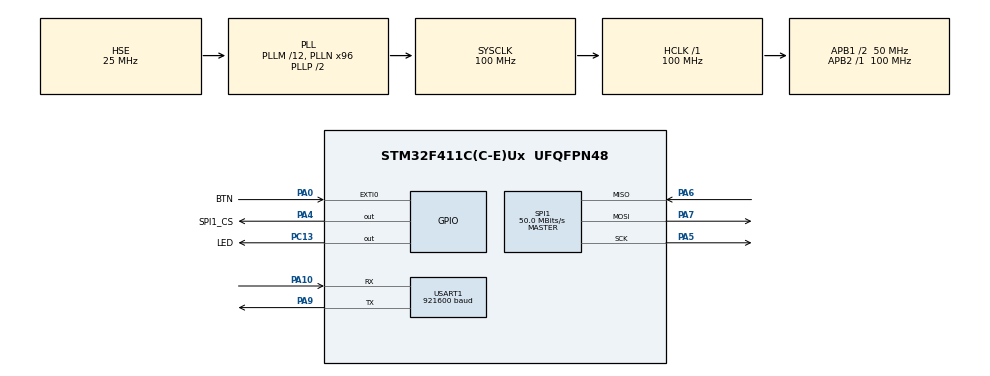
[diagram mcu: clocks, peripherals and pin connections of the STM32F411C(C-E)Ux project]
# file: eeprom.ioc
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Mcu.Family=STM32F4
Mcu.Name=STM32F411C(C-E)Ux
Mcu.Package=UFQFPN48
NVIC.PriorityGroup=NVIC_PRIORITYGROUP_4
NVIC.SPI1_IRQn=true\:0\:0\:false\:false\:true\:true\:true\:true
PA0-WKUP.GPIO_Label=BTN
PA0-WKUP.GPIO_ModeDefaultEXTI=GPIO_MODE_IT_FALLING
PA0-WKUP.Signal=GPXTI0
PA10.Mode=Asynchronous
PA10.Signal=USART1_RX
PA13.Mode=Serial_Wire
PA13.Signal=SYS_JTMS-SWDIO
PA14.Mode=Serial_Wire
PA14.Signal=SYS_JTCK-SWCLK
PA4.GPIO_Label=SPI1_CS
PA4.GPIO_PuPd=GPIO_NOPULL
PA4.GPIO_Speed=GPIO_SPEED_FREQ_MEDIUM
PA4.PinState=GPIO_PIN_SET
PA4.Signal=GPIO_Output
PA5.Mode=Full_Duplex_Master
PA5.Signal=SPI1_SCK
PA6.Mode=Full_Duplex_Master
PA6.Signal=SPI1_MISO
PA7.Mode=Full_Duplex_Master
PA7.Signal=SPI1_MOSI
PA9.Mode=Asynchronous
PA9.Signal=USART1_TX
PC13-ANTI_TAMP.GPIO_Label=LED
PC13-ANTI_TAMP.Signal=GPIO_Output
PH0\ -\ OSC_IN.Mode=HSE-External-Oscillator
PH0\ -\ OSC_IN.Signal=RCC_OSC_IN
PH1\ -\ OSC_OUT.Mode=HSE-External-Oscillator
PH1\ -\ OSC_OUT.Signal=RCC_OSC_OUT
ProjectManager.HeapSize=0x200
ProjectManager.StackSize=0x400
ProjectManager.TargetToolchain=STM32CubeIDE
RCC.48MHZClocksFreq_Value=50000000
RCC.AHBFreq_Value=100000000
RCC.APB1CLKDivider=RCC_HCLK_DIV2
RCC.APB1Freq_Value=50000000
RCC.APB1TimFreq_Value=100000000
RCC.APB2Freq_Value=100000000
RCC.APB2TimFreq_Value=100000000
RCC.CortexFreq_Value=100000000
RCC.HCLKFreq_Value=100000000
RCC.HSE_VALUE=25000000
RCC.HSI_VALUE=16000000
RCC.LSE_VALUE=32768
RCC.PLLM=12
RCC.PLLN=96
RCC.PLLSourceVirtual=RCC_PLLSOURCE_HSE
RCC.SYSCLKFreq_VALUE=100000000
RCC.SYSCLKSource=RCC_SYSCLKSOURCE_PLLCLK
RCC.VCOOutputFreq_Value=200000000
SPI1.CalculateBaudRate=50.0 MBits/s
SPI1.Direction=SPI_DIRECTION_2LINES
SPI1.Mode=SPI_MODE_MASTER
SPI1.VirtualType=VM_MASTER
USART1.BaudRate=921600
USART1.VirtualMode=VM_ASYNC
board=custom

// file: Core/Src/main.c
/* USER CODE BEGIN Header */
/**
  ******************************************************************************
  * @file           : main.c
  * @brief          : Main program body
  ******************************************************************************
  * @attention
  *
  * <h2><center>&copy; Copyright (c) 2022 Lars Boegild Thomsen <lbthomsen@gmail.com>
  * All rights reserved.</center></h2>
  *
  * This software component is licensed under MIT license,
  * the "License"; You may not use this file except in compliance with the
  * License. You may obtain a copy of the License at:
  *                        opensource.org/licenses/MIT
  *
  ******************************************************************************
  */
/* USER CODE END Header */
#include "main.h"

/* USER CODE BEGIN Includes */
#include "stdio.h"
#include "stdbool.h"
#include "string.h"
#include "w25qxx.h"
/* USER CODE END Includes */

/* USER CODE BEGIN PD */
#ifdef DEBUG
#define DBG_STATE "enabled"
#else
#define DBG_STATE "disabled"
#endif // DEBUG
/* USER CODE END PD */

 SPI_HandleTypeDef hspi1;

UART_HandleTypeDef huart1;

/* USER CODE BEGIN PV */

W25QXX_HandleTypeDef w25qxx = {0};

/* USER CODE END PV */

void SystemClock_Config(void);
static void MX_GPIO_Init(void);
static void MX_SPI1_Init(void);
static void MX_USART1_UART_Init(void);

/* USER CODE BEGIN 0 */

// Send printf to uart1
int _write(int fd, char* ptr, int len) {
  HAL_StatusTypeDef hstatus;

  if (fd == 1 || fd == 2) {
    hstatus = HAL_UART_Transmit(&huart1, (uint8_t *) ptr, len, HAL_MAX_DELAY);
    if (hstatus == HAL_OK)
      return len;
    else
      return -1;
  }
  return -1;
}

// Dump hex to serial console
void dump_hex(char *header, uint32_t start, uint8_t *buf, uint32_t len) {
	uint32_t i = 0;

	printf("%s\n", header);

	for (i = 0; i < len; ++i) {

		if (i % 16 == 0) {
			printf("0x%08lx: ", start);
		}

		printf("%02x ", buf[i]);

		if ((i + 1) % 16 == 0) {
			printf("\n");
		}

		++start;
	}
}

void fill_buffer(uint8_t pattern, uint8_t *buf, uint32_t len) {
	switch (pattern) {
	case 0:
		memset(buf, 0, len);
		break;
	case 1:
		memset(buf, 0xaa, len); // 10101010
		break;
	case 2:
		for (uint32_t i = 0; i < len; ++i) buf[i] = i % 256;
		break;
	default:
		DBG("Programmer is a moron");
	}
}

bool check_buffer(uint8_t pattern, uint8_t *buf, uint32_t len) {

	bool ret = true;

	switch (pattern) {
	case 0:
		for (uint32_t i = 0; i < len; ++i) {
			if (buf[i] != 0) ret = false;
		}
		break;
	case 1:
		for (uint32_t i = 0; i < len; ++i) {
			if (buf[i] != 0xaa) ret = false;
		}
		break;
	case 2:
		for (uint32_t i = 0; i < len; ++i) {
			if (buf[i] != i % 256) ret = false;
		}
		break;
	default:
		DBG("Programmer is a moron");
	}

	return ret;
}

uint32_t get_sum(uint8_t *buf, uint32_t len) {
	uint32_t sum = 0;
	for (uint32_t i = 0; i < len; ++i) {
		sum += buf[i];
	}
	return sum;
}

/* USER CODE END 0 */

int main(void)
{

  /* MCU Configuration--------------------------------------------------------*/

  /* Reset of all peripherals, Initializes the Flash interface and the Systick. */
  HAL_Init();

  /* Configure the system clock */
  SystemClock_Config();

  /* Initialize all configured peripherals */
  MX_GPIO_Init();
  MX_SPI1_Init();
  MX_USART1_UART_Init();
  /* USER CODE BEGIN 2 */

  W25QXX_result_t res;

  DBG("\n-----------------\nStarting (debug is %s)...", DBG_STATE);

  res = w25qxx_init(&w25qxx, &hspi1, SPI1_CS_GPIO_Port, SPI1_CS_Pin);
  if (res == W25QXX_Ok) {
	  DBG("W25QXX successfully initialized");
	  DBG("Manufacturer       = 0x%2x", w25qxx.manufacturer_id);
	  DBG("Device             = 0x%4x", w25qxx.device_id);
	  DBG("Block size         = 0x%04lx (%lu)", w25qxx.block_size, w25qxx.block_size);
	  DBG("Block count        = 0x%04lx (%lu)", w25qxx.block_count, w25qxx.block_count);
	  DBG("Sector size        = 0x%04lx (%lu)", w25qxx.sector_size, w25qxx.sector_size);
	  DBG("Sectors per block  = 0x%04lx (%lu)", w25qxx.sectors_in_block, w25qxx.sectors_in_block);
	  DBG("Page size          = 0x%04lx (%lu)", w25qxx.page_size, w25qxx.page_size);
	  DBG("Pages per sector   = 0x%04lx (%lu)", w25qxx.pages_in_sector, w25qxx.pages_in_sector);
	  DBG("Total size (in kB) = 0x%04lx (%lu)", (w25qxx.block_count * w25qxx.block_size) / 1024, (w25qxx.block_count * w25qxx.block_size) / 1024);
  } else {
	  DBG("Unable to initialize w25qxx");
  }

  HAL_Delay(10);

  uint8_t buf[w25qxx.page_size]; // Buffer the size of a page

  for (uint8_t run = 0; run <= 2; ++run) {

	  DBG("\n-------------\nRun %d", run);

	  DBG("Reading first page");

	  res = w25qxx_read(&w25qxx, 0, (uint8_t *)&buf, sizeof(buf));
	  if (res == W25QXX_Ok) {
		  dump_hex("First page at start", 0, (uint8_t *)&buf, sizeof(buf));
	  } else {
		  DBG("Unable to read w25qxx");
	  }

	  DBG("Erasing first page");
	  if (w25qxx_erase(&w25qxx, 0, sizeof(buf)) == W25QXX_Ok) {
		  DBG("Reading first page");
		  if (w25qxx_read(&w25qxx, 0, (uint8_t *)&buf, sizeof(buf)) == W25QXX_Ok) {
			dump_hex("After erase", 0, (uint8_t *)&buf, sizeof(buf));
		  }
	  }

	  // Create a well known pattern
	  fill_buffer(run, buf, sizeof(buf));

	  // Write it to device
	  DBG("Writing first page");
	  if (w25qxx_write(&w25qxx, 0, (uint8_t *)&buf, sizeof(buf)) == W25QXX_Ok) {
		  // now read it back
		  DBG("Reading first page");
		  if (w25qxx_read(&w25qxx, 0, (uint8_t *)&buf, sizeof(buf)) == W25QXX_Ok) {
			  //DBG("  - sum = %lu", get_sum(buf, 256));
			  dump_hex("After write", 0, (uint8_t *)&buf, sizeof(buf));
		  }
	  }
  }

  // Let's do a stress test
  uint32_t start;
  uint32_t sectors = w25qxx.block_count * w25qxx.sectors_in_block; // Entire chip

  DBG("Stress testing w25qxx device: sectors = %lu", sectors);

  DBG("Doing chip erase");
  start = HAL_GetTick();
  w25qxx_chip_erase(&w25qxx);
  DBG("Done erasing - took %lu ms", HAL_GetTick() - start);

  fill_buffer(0, buf, sizeof(buf));

  DBG("Writing all zeroes %lu sectors", sectors);
  start = HAL_GetTick();
  for (uint32_t i = 0; i < sectors; ++i) {
	  w25qxx_write(&w25qxx, i * w25qxx.sector_size, buf, sizeof(buf));
  }
  DBG("Done writing - took %lu ms", HAL_GetTick() - start);

  DBG("Reading %lu sectors", sectors);
  start = HAL_GetTick();
  for (uint32_t i = 0; i < sectors; ++i) {
	  w25qxx_read(&w25qxx, i * w25qxx.sector_size, buf, sizeof(buf));
  }
  DBG("Done reading - took %lu ms", HAL_GetTick() - start);

  DBG("Validating buffer");
  if (check_buffer(0, buf, sizeof(buf))) {
	  DBG("OK");
  } else {
	  DBG("Not OK");
  }

  DBG("Doing chip erase");
  start = HAL_GetTick();
  w25qxx_chip_erase(&w25qxx);
  DBG("Done erasing - took %lu ms", HAL_GetTick() - start);

  fill_buffer(1, buf, sizeof(buf));

  DBG("Writing 10101010 %lu sectors", sectors);
  start = HAL_GetTick();
  for (uint32_t i = 0; i < sectors; ++i) {
	  w25qxx_write(&w25qxx, i * w25qxx.sector_size, buf, sizeof(buf));
  }
  DBG("Done writing - took %lu ms", HAL_GetTick() - start);

  DBG("Reading %lu sectors", sectors);
  start = HAL_GetTick();
  for (uint32_t i = 0; i < sectors; ++i) {
	  w25qxx_read(&w25qxx, i * w25qxx.sector_size, buf, sizeof(buf));
  }
  DBG("Done reading - took %lu ms", HAL_GetTick() - start);

  DBG("Validating buffer");
  if (check_buffer(1, buf, sizeof(buf))) {
	  DBG("OK");
  } else {
	  DBG("Not OK");
  }

  DBG("Erasing %lu sectors sequentially", sectors);
  start = HAL_GetTick();
  for (uint32_t i = 0; i < sectors; ++i) {
	  w25qxx_erase(&w25qxx, i * w25qxx.sector_size, sizeof(buf));
  }
  DBG("Done erasing - took %lu ms", HAL_GetTick() - start);

  /* USER CODE END 2 */

  /* Infinite loop */
  /* USER CODE BEGIN WHILE */

  uint32_t now = 0, last_blink = 0;

  while (1)
  {

	  now = HAL_GetTick();

	  if (now - last_blink >= 500) {
		  HAL_GPIO_TogglePin(LED_GPIO_Port, LED_Pin);
		  last_blink = now;
	  }

    /* USER CODE END WHILE */

  }
}

void SystemClock_Config(void)
{
  RCC_OscInitTypeDef RCC_OscInitStruct = {0};
  RCC_ClkInitTypeDef RCC_ClkInitStruct = {0};

  /** Configure the main internal regulator output voltage
  */
  __HAL_RCC_PWR_CLK_ENABLE();
  __HAL_PWR_VOLTAGESCALING_CONFIG(PWR_REGULATOR_VOLTAGE_SCALE1);

  /** Initializes the RCC Oscillators according to the specified parameters
  * in the RCC_OscInitTypeDef structure.
  */
  RCC_OscInitStruct.OscillatorType = RCC_OSCILLATORTYPE_HSE;
  RCC_OscInitStruct.HSEState = RCC_HSE_ON;
  RCC_OscInitStruct.PLL.PLLState = RCC_PLL_ON;
  RCC_OscInitStruct.PLL.PLLSource = RCC_PLLSOURCE_HSE;
  RCC_OscInitStruct.PLL.PLLM = 12;
  RCC_OscInitStruct.PLL.PLLN = 96;
  RCC_OscInitStruct.PLL.PLLP = RCC_PLLP_DIV2;
  RCC_OscInitStruct.PLL.PLLQ = 4;
  if (HAL_RCC_OscConfig(&RCC_OscInitStruct) != HAL_OK)
  {
    Error_Handler();
  }

  /** Initializes the CPU, AHB and APB buses clocks
  */
  RCC_ClkInitStruct.ClockType = RCC_CLOCKTYPE_HCLK|RCC_CLOCKTYPE_SYSCLK
                              |RCC_CLOCKTYPE_PCLK1|RCC_CLOCKTYPE_PCLK2;
  RCC_ClkInitStruct.SYSCLKSource = RCC_SYSCLKSOURCE_PLLCLK;
  RCC_ClkInitStruct.AHBCLKDivider = RCC_SYSCLK_DIV1;
  RCC_ClkInitStruct.APB1CLKDivider = RCC_HCLK_DIV2;
  RCC_ClkInitStruct.APB2CLKDivider = RCC_HCLK_DIV1;

  if (HAL_RCC_ClockConfig(&RCC_ClkInitStruct, FLASH_LATENCY_3) != HAL_OK)
  {
    Error_Handler();
  }
}

static void MX_SPI1_Init(void)
{

  /* SPI1 parameter configuration*/
  hspi1.Instance = SPI1;
  hspi1.Init.Mode = SPI_MODE_MASTER;
  hspi1.Init.Direction = SPI_DIRECTION_2LINES;
  hspi1.Init.DataSize = SPI_DATASIZE_8BIT;
  hspi1.Init.CLKPolarity = SPI_POLARITY_LOW;
  hspi1.Init.CLKPhase = SPI_PHASE_1EDGE;
  hspi1.Init.NSS = SPI_NSS_SOFT;
  hspi1.Init.BaudRatePrescaler = SPI_BAUDRATEPRESCALER_2;
  hspi1.Init.FirstBit = SPI_FIRSTBIT_MSB;
  hspi1.Init.TIMode = SPI_TIMODE_DISABLE;
  hspi1.Init.CRCCalculation = SPI_CRCCALCULATION_DISABLE;
  hspi1.Init.CRCPolynomial = 10;
  if (HAL_SPI_Init(&hspi1) != HAL_OK)
  {
    Error_Handler();
  }

}

static void MX_USART1_UART_Init(void)
{

  huart1.Instance = USART1;
  huart1.Init.BaudRate = 921600;
  huart1.Init.WordLength = UART_WORDLENGTH_8B;
  huart1.Init.StopBits = UART_STOPBITS_1;
  huart1.Init.Parity = UART_PARITY_NONE;
  huart1.Init.Mode = UART_MODE_TX_RX;
  huart1.Init.HwFlowCtl = UART_HWCONTROL_NONE;
  huart1.Init.OverSampling = UART_OVERSAMPLING_16;
  if (HAL_UART_Init(&huart1) != HAL_OK)
  {
    Error_Handler();
  }

}

static void MX_GPIO_Init(void)
{
  GPIO_InitTypeDef GPIO_InitStruct = {0};

  /* GPIO Ports Clock Enable */
  __HAL_RCC_GPIOC_CLK_ENABLE();
  __HAL_RCC_GPIOH_CLK_ENABLE();
  __HAL_RCC_GPIOA_CLK_ENABLE();

  /*Configure GPIO pin Output Level */
  HAL_GPIO_WritePin(LED_GPIO_Port, LED_Pin, GPIO_PIN_RESET);

  /*Configure GPIO pin Output Level */
  HAL_GPIO_WritePin(SPI1_CS_GPIO_Port, SPI1_CS_Pin, GPIO_PIN_SET);

  /*Configure GPIO pin : LED_Pin */
  GPIO_InitStruct.Pin = LED_Pin;
  GPIO_InitStruct.Mode = GPIO_MODE_OUTPUT_PP;
  GPIO_InitStruct.Pull = GPIO_NOPULL;
  GPIO_InitStruct.Speed = GPIO_SPEED_FREQ_LOW;
  HAL_GPIO_Init(LED_GPIO_Port, &GPIO_InitStruct);

  /*Configure GPIO pin : BTN_Pin */
  GPIO_InitStruct.Pin = BTN_Pin;
  GPIO_InitStruct.Mode = GPIO_MODE_IT_FALLING;
  GPIO_InitStruct.Pull = GPIO_NOPULL;
  HAL_GPIO_Init(BTN_GPIO_Port, &GPIO_InitStruct);

  /*Configure GPIO pin : SPI1_CS_Pin */
  GPIO_InitStruct.Pin = SPI1_CS_Pin;
  GPIO_InitStruct.Mode = GPIO_MODE_OUTPUT_PP;
  GPIO_InitStruct.Pull = GPIO_NOPULL;
  GPIO_InitStruct.Speed = GPIO_SPEED_FREQ_MEDIUM;
  HAL_GPIO_Init(SPI1_CS_GPIO_Port, &GPIO_InitStruct);

}

void Error_Handler(void)
{
  __disable_irq();
  while (1)
  {
  }
}
